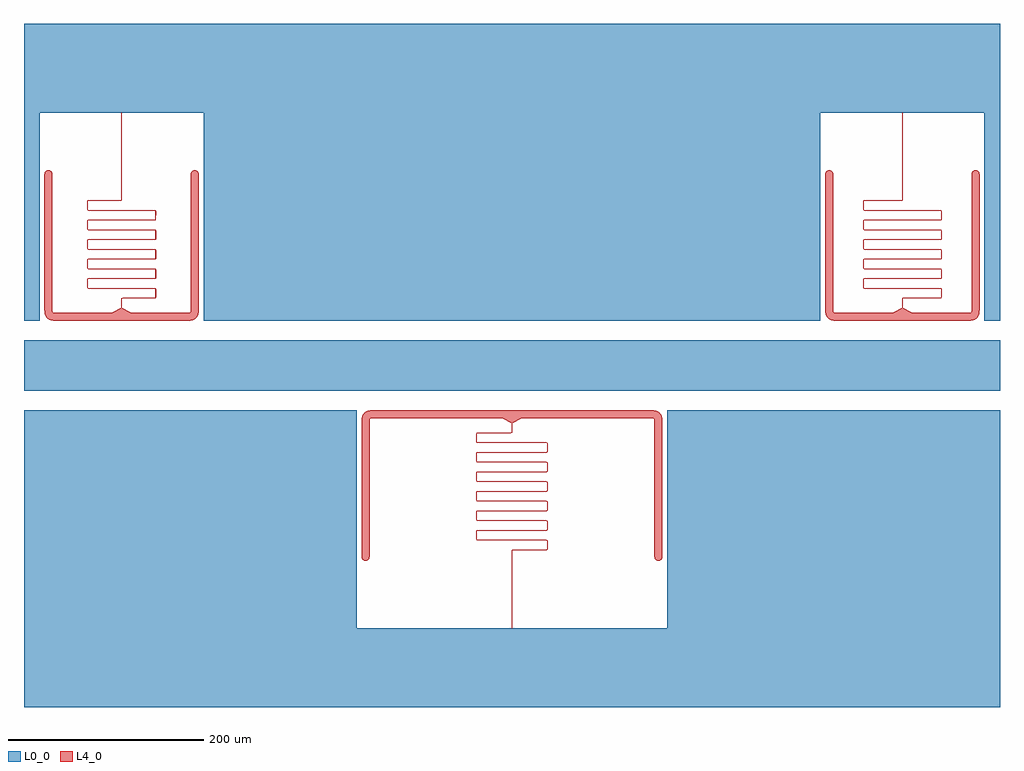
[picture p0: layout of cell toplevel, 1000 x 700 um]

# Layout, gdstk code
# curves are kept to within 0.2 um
import gdstk
lib = gdstk.Library(unit=1e-6, precision=1e-09)
def R(c, l, rs):  # rectangles x0, y0, x1, y1
    for r in rs: c.add(gdstk.rectangle(r[:2], r[2:], *l))
def P(c, l, *ps):  # polygons
    for p in ps: c.add(gdstk.Polygon(p, *l))
L0_0 = (0, 0)
L4_0 = (4, 0)

toplevel = lib.new_cell('toplevel')
R(toplevel, L0_0, [(-500,-26,500,26)])
P(toplevel, L0_0, [(316,259),(484,259),(484,46),(500,46),(500,350),(-500,350),(-500,46),(-484,46),(-484,259),(-316,259),(-316,46),(316,46)],
  [(-159,-269),(-159,-46),(-500,-46),(-500,-350),(500,-350),(500,-46),(159,-46),(159,-269)])
P(toplevel, L4_0, [(-399.699,68.039),(-399.465,68.615),(-365.506,68.757),(-364.947,69.112),(-364.71,69.78),(-364.7,77.878),(-364.981,78.93),(-365.381,79.203),(-433.96,79.3),(-434.676,79.717),(-434.577,88.523),(-365.997,88.7),(-365.142,88.924),(-364.736,89.597),(-364.712,98.238),(-365.002,98.953),(-365.674,99.277),(-433.96,99.3),(-434.674,99.705),(-434.577,108.523),(-365.997,108.7),(-365.155,108.915),(-364.743,109.565),(-364.712,118.232),(-364.997,118.948),(-365.674,119.277),(-433.955,119.3),(-434.669,119.683),(-434.577,128.523),(-366.003,128.7),(-365.173,128.903),(-364.752,129.526),(-364.712,138.232),(-364.997,138.948),(-365.674,139.277),(-433.955,139.3),(-434.662,139.657),(-434.577,148.523),(-366.003,148.7),(-365.192,148.89),(-364.766,149.473),(-364.711,158.226),(-364.997,158.948),(-365.674,159.277),(-433.95,159.3),(-434.654,159.629),(-434.698,168.063),(-434.35,168.66),(-400.957,168.701),(-400.205,168.883),(-399.785,169.414),(-399.7,259),(-400.3,259),(-400.352,169.612),(-401.015,169.3),(-434.527,169.234),(-435.071,168.864),(-435.292,168.184),(-435.226,159.447),(-434.795,158.883),(-433.992,158.7),(-365.769,158.685),(-365.303,158.095),(-365.342,149.643),(-366.045,149.3),(-434.326,149.277),(-435.003,148.948),(-435.288,148.232),(-435.241,139.5),(-434.82,138.898),(-433.997,138.7),(-365.769,138.685),(-365.303,138.095),(-365.334,129.672),(-366.045,129.3),(-434.326,129.277),(-435.003,128.948),(-435.288,128.232),(-435.253,119.545),(-434.833,118.907),(-433.997,118.7),(-365.765,118.684),(-365.303,118.095),(-365.329,109.694),(-366.04,109.3),(-434.326,109.277),(-434.998,108.953),(-435.288,108.238),(-435.261,99.584),(-434.852,98.92),(-434.003,98.7),(-365.765,98.684),(-365.304,98.1),(-365.325,89.713),(-366.04,89.3),(-434.326,89.277),(-434.998,88.953),(-435.288,88.238),(-435.265,79.604),(-434.876,78.937),(-434.054,78.701),(-366.01,78.7),(-365.432,78.534),(-365.3,77.878),(-365.399,69.511),(-399.75,69.143),(-400.295,68.142),(-400.3,59),(-410,54),(-468.12,54.001),(-470.603,54.408),(-471,57.106),(-471.004,196.174),(-471.452,197.847),(-472.429,199.064),(-473.797,199.815),(-475.349,199.985),(-476.847,199.548),(-477.949,198.702),(-478.695,197.531),(-478.996,196.174),(-479,57.082),(-478.446,52.484),(-477.684,50.663),(-476.633,49.151),(-475.213,47.865),(-473.449,46.889),(-469.341,46.033),(-331.461,46.006),(-327.212,46.641),(-325.442,47.441),(-323.946,48.551),(-322.68,50.058),(-321.758,51.882),(-321.212,53.953),(-321.006,56.461),(-321,196),(-321.375,197.69),(-322.429,199.064),(-323.965,199.864),(-325.522,199.966),(-326.847,199.548),(-327.949,198.702),(-328.695,197.531),(-328.996,196.174),(-329,57.073),(-329.338,54.496),(-330.14,54.126),(-331.88,54.001),(-390,54),(-399.7,59)],
  [(-0.54,-68.618),(-35.731,-68.754),(-36.298,-69.106),(-36.539,-69.78),(-36.55,-77.878),(-36.269,-78.93),(-35.869,-79.203),(35.21,-79.3),(35.927,-79.721),(35.946,-88.1),(35.477,-88.685),(-35.253,-88.7),(-36.108,-88.924),(-36.515,-89.604),(-36.538,-98.238),(-36.248,-98.953),(-35.563,-99.279),(35.21,-99.3),(35.925,-99.709),(35.946,-108.1),(35.477,-108.685),(-35.247,-108.7),(-36.095,-108.915),(-36.509,-109.571),(-36.538,-118.238),(-36.248,-118.953),(-35.563,-119.279),(35.205,-119.3),(35.921,-119.69),(35.946,-128.1),(35.477,-128.685),(-35.247,-128.7),(-36.083,-128.907),(-36.5,-129.532),(-36.538,-138.238),(-36.248,-138.953),(-35.563,-139.279),(35.205,-139.3),(35.914,-139.664),(35.947,-148.095),(35.477,-148.685),(-35.242,-148.7),(-36.064,-148.894),(-36.488,-149.487),(-36.538,-158.232),(-36.248,-158.953),(-35.563,-159.279),(35.2,-159.3),(35.906,-159.636),(35.947,-168.095),(35.477,-168.685),(-35.242,-168.7),(-36.038,-168.879),(-36.472,-169.434),(-36.539,-178.226),(-36.248,-178.953),(-35.563,-179.279),(35.2,-179.3),(35.896,-179.605),(35.948,-188.063),(35.593,-188.662),(0.969,-188.701),(0.231,-188.868),(-0.195,-189.361),(-0.3,-269),(0.3,-269),(0.361,-189.586),(1.02,-189.3),(35.763,-189.238),(36.317,-188.87),(36.542,-188.184),(36.46,-179.401),(36.026,-178.871),(35.236,-178.7),(-35.477,-178.685),(-35.947,-178.095),(-35.902,-169.622),(-35.2,-169.3),(35.563,-169.279),(36.248,-168.953),(36.538,-168.232),(36.48,-159.46),(36.051,-158.887),(35.242,-158.7),(-35.477,-158.685),(-35.947,-158.095),(-35.911,-149.653),(-35.205,-149.3),(35.563,-149.279),(36.248,-148.953),(36.538,-148.232),(36.495,-139.513),(36.07,-138.898),(35.247,-138.7),(-35.477,-138.685),(-35.946,-138.1),(-35.918,-129.679),(-35.205,-129.3),(35.563,-129.279),(36.248,-128.953),(36.538,-128.238),(36.504,-119.552),(36.089,-118.911),(35.247,-118.7),(-35.477,-118.685),(-35.946,-118.1),(-35.922,-109.698),(-35.205,-109.3),(35.563,-109.279),(36.248,-108.953),(36.538,-108.238),(36.513,-99.591),(36.102,-98.92),(35.253,-98.7),(-35.477,-98.685),(-35.946,-98.1),(-35.926,-89.717),(-35.21,-89.3),(35.563,-89.279),(36.248,-88.953),(36.538,-88.238),(36.517,-79.61),(36.126,-78.937),(35.298,-78.701),(-35.24,-78.7),(-35.818,-78.534),(-35.95,-77.878),(-35.947,-69.914),(-35.575,-69.333),(-0.263,-69.15),(0.295,-68.147),(0.3,-59),(10,-54),(142.927,-54),(145.564,-54.375),(146,-57.073),(146.004,-196.174),(146.723,-198.294),(148.632,-199.759),(151.035,-199.864),(153.064,-198.571),(153.759,-197.368),(154,-196),(153.985,-56.09),(153.621,-53.126),(152.654,-50.608),(151.155,-48.647),(149.115,-47.198),(146.404,-46.277),(142.955,-46),(-142.955,-46),(-147.3,-46.49),(-149.226,-47.256),(-150.797,-48.322),(-152.017,-49.625),(-153.015,-51.329),(-153.957,-55.481),(-154,-196),(-153.625,-197.69),(-152.571,-199.064),(-150.522,-199.966),(-148.469,-199.696),(-146.723,-198.294),(-146.004,-196.174),(-146,-57.073),(-145.589,-54.394),(-142.927,-54),(-10,-54),(-0.3,-59),(-0.301,-68.039)],
  [(400.301,68.044),(400.558,68.626),(439.454,68.747),(440.039,69.094),(440.289,69.774),(440.3,77.878),(440.241,78.5),(439.612,79.205),(361.05,79.3),(360.329,79.694),(360.428,88.53),(438.992,88.7),(439.839,88.911),(440.256,89.558),(440.288,98.238),(439.992,98.959),(439.294,99.281),(361.05,99.3),(360.331,99.683),(360.428,108.53),(438.992,108.7),(439.827,108.903),(440.248,109.526),(440.288,118.238),(439.992,118.959),(439.294,119.281),(361.05,119.3),(360.337,119.66),(360.428,128.53),(438.986,128.7),(439.808,128.89),(440.236,129.48),(440.288,138.238),(439.992,138.959),(439.294,139.281),(361.05,139.3),(360.344,139.636),(360.428,148.53),(438.981,148.7),(439.782,148.875),(440.219,149.427),(440.288,158.232),(439.992,158.959),(439.294,159.281),(361.055,159.3),(360.354,159.605),(360.302,168.067),(360.675,168.667),(399.026,168.701),(399.769,168.868),(400.195,169.361),(400.3,259),(399.7,259),(399.639,169.586),(398.975,169.3),(360.519,169.246),(359.942,168.882),(359.708,168.19),(359.792,159.394),(360.231,158.868),(361.019,158.7),(439.21,158.687),(439.696,158.1),(439.651,149.618),(438.945,149.3),(360.706,149.281),(360.007,148.959),(359.712,148.232),(359.772,139.454),(360.205,138.883),(361.014,138.7),(439.214,138.687),(439.696,138.1),(439.659,129.646),(438.95,129.3),(360.706,129.281),(360.007,128.959),(359.712,128.238),(359.757,119.506),(360.18,118.898),(361.008,118.7),(439.214,118.687),(439.696,118.1),(439.666,109.671),(438.95,109.3),(360.706,109.281),(360.007,108.959),(359.712,108.238),(359.747,99.546),(360.167,98.907),(361.008,98.7),(439.214,98.687),(439.696,98.1),(439.671,89.69),(438.955,89.3),(360.706,89.281),(360.007,88.959),(359.712,88.238),(359.743,79.565),(360.142,78.924),(360.963,78.701),(438.985,78.7),(439.566,78.536),(439.7,77.878),(439.594,69.5),(400.302,69.169),(399.706,68.153),(399.7,59),(390,54),(331.88,54.001),(329.394,54.411),(329,57.073),(328.996,196.174),(328.548,197.847),(327.571,199.064),(326.203,199.815),(324.651,199.985),(323.153,199.548),(322.051,198.702),(321.304,197.531),(321.004,196.174),(321,57.045),(321.554,52.484),(322.316,50.663),(323.367,49.151),(324.787,47.865),(326.551,46.889),(330.659,46.033),(468.539,46.006),(472.788,46.641),(474.558,47.441),(476.054,48.551),(477.32,50.058),(478.242,51.882),(478.788,53.953),(478.994,56.461),(479,196),(478.625,197.69),(477.571,199.064),(476.035,199.864),(474.478,199.966),(473.153,199.548),(472.051,198.702),(471.304,197.531),(471.004,196.174),(471,57.106),(470.662,54.496),(469.86,54.126),(468.12,54.001),(410,54),(400.3,59)])

lib.write_gds('toplevel.gds')
